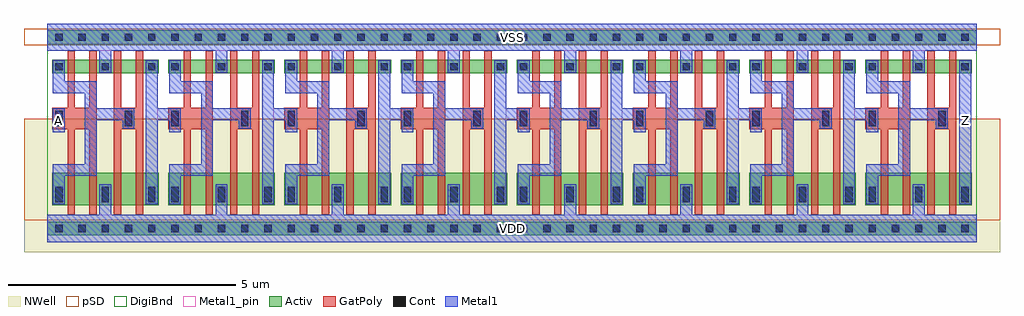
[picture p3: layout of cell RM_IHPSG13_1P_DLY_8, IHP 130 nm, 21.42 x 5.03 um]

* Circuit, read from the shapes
.subckt RM_IHPSG13_1P_DLY_8 A VDD VSS Z
XM1 n1 A n2 VSS sg13_lv_nmos w=0.3u l=0.16u
XM2 VSS A n1 VSS sg13_lv_nmos w=0.3u l=0.16u
XM3 n3 n2 VSS VSS sg13_lv_nmos w=0.3u l=0.16u
XM4 RSC_IHPSG13_CDLYX1_1/A n2 n3 VSS sg13_lv_nmos w=0.3u l=0.16u
XM5 n4 RSC_IHPSG13_CDLYX1_1/A n5 VSS sg13_lv_nmos w=0.3u l=0.16u
XM6 VSS RSC_IHPSG13_CDLYX1_1/A n4 VSS sg13_lv_nmos w=0.3u l=0.16u
XM7 n6 n5 VSS VSS sg13_lv_nmos w=0.3u l=0.16u
XM8 RSC_IHPSG13_CDLYX1_2/A n5 n6 VSS sg13_lv_nmos w=0.3u l=0.16u
XM9 n7 RSC_IHPSG13_CDLYX1_2/A n8 VSS sg13_lv_nmos w=0.3u l=0.16u
XM10 VSS RSC_IHPSG13_CDLYX1_2/A n7 VSS sg13_lv_nmos w=0.3u l=0.16u
XM11 n9 n8 VSS VSS sg13_lv_nmos w=0.3u l=0.16u
XM12 RSC_IHPSG13_CDLYX1_3/A n8 n9 VSS sg13_lv_nmos w=0.3u l=0.16u
XM13 n10 RSC_IHPSG13_CDLYX1_3/A n11 VSS sg13_lv_nmos w=0.3u l=0.16u
XM14 VSS RSC_IHPSG13_CDLYX1_3/A n10 VSS sg13_lv_nmos w=0.3u l=0.16u
XM15 n12 n11 VSS VSS sg13_lv_nmos w=0.3u l=0.16u
XM16 RSC_IHPSG13_CDLYX1_4/A n11 n12 VSS sg13_lv_nmos w=0.3u l=0.16u
XM17 n13 RSC_IHPSG13_CDLYX1_4/A n14 VSS sg13_lv_nmos w=0.3u l=0.16u
XM18 VSS RSC_IHPSG13_CDLYX1_4/A n13 VSS sg13_lv_nmos w=0.3u l=0.16u
XM19 n15 n14 VSS VSS sg13_lv_nmos w=0.3u l=0.16u
XM20 RSC_IHPSG13_CDLYX1_5/A n14 n15 VSS sg13_lv_nmos w=0.3u l=0.16u
XM21 n16 RSC_IHPSG13_CDLYX1_5/A n17 VSS sg13_lv_nmos w=0.3u l=0.16u
XM22 VSS RSC_IHPSG13_CDLYX1_5/A n16 VSS sg13_lv_nmos w=0.3u l=0.16u
XM23 n18 n17 VSS VSS sg13_lv_nmos w=0.3u l=0.16u
XM24 RSC_IHPSG13_CDLYX1_6/A n17 n18 VSS sg13_lv_nmos w=0.3u l=0.16u
XM25 n19 RSC_IHPSG13_CDLYX1_6/A n20 VSS sg13_lv_nmos w=0.3u l=0.16u
XM26 VSS RSC_IHPSG13_CDLYX1_6/A n19 VSS sg13_lv_nmos w=0.3u l=0.16u
XM27 n21 n20 VSS VSS sg13_lv_nmos w=0.3u l=0.16u
XM28 RSC_IHPSG13_CDLYX1_7/A n20 n21 VSS sg13_lv_nmos w=0.3u l=0.16u
XM29 n22 RSC_IHPSG13_CDLYX1_7/A n23 VSS sg13_lv_nmos w=0.3u l=0.16u
XM30 VSS RSC_IHPSG13_CDLYX1_7/A n22 VSS sg13_lv_nmos w=0.3u l=0.16u
XM31 n24 n23 VSS VSS sg13_lv_nmos w=0.3u l=0.16u
XM32 Z n23 n24 VSS sg13_lv_nmos w=0.3u l=0.16u
XM33 n25 A n2 VDD sg13_lv_pmos w=0.72u l=0.16u
XM34 VDD A n25 VDD sg13_lv_pmos w=0.72u l=0.16u
XM35 n26 n2 VDD VDD sg13_lv_pmos w=0.72u l=0.16u
XM36 RSC_IHPSG13_CDLYX1_1/A n2 n26 VDD sg13_lv_pmos w=0.72u l=0.16u
XM37 n27 RSC_IHPSG13_CDLYX1_1/A n5 VDD sg13_lv_pmos w=0.72u l=0.16u
XM38 VDD RSC_IHPSG13_CDLYX1_1/A n27 VDD sg13_lv_pmos w=0.72u l=0.16u
XM39 n28 n5 VDD VDD sg13_lv_pmos w=0.72u l=0.16u
XM40 RSC_IHPSG13_CDLYX1_2/A n5 n28 VDD sg13_lv_pmos w=0.72u l=0.16u
XM41 n29 RSC_IHPSG13_CDLYX1_2/A n8 VDD sg13_lv_pmos w=0.72u l=0.16u
XM42 VDD RSC_IHPSG13_CDLYX1_2/A n29 VDD sg13_lv_pmos w=0.72u l=0.16u
XM43 n30 n8 VDD VDD sg13_lv_pmos w=0.72u l=0.16u
XM44 RSC_IHPSG13_CDLYX1_3/A n8 n30 VDD sg13_lv_pmos w=0.72u l=0.16u
XM45 n31 RSC_IHPSG13_CDLYX1_3/A n11 VDD sg13_lv_pmos w=0.72u l=0.16u
XM46 VDD RSC_IHPSG13_CDLYX1_3/A n31 VDD sg13_lv_pmos w=0.72u l=0.16u
XM47 n32 n11 VDD VDD sg13_lv_pmos w=0.72u l=0.16u
XM48 RSC_IHPSG13_CDLYX1_4/A n11 n32 VDD sg13_lv_pmos w=0.72u l=0.16u
XM49 n33 RSC_IHPSG13_CDLYX1_4/A n14 VDD sg13_lv_pmos w=0.72u l=0.16u
XM50 VDD RSC_IHPSG13_CDLYX1_4/A n33 VDD sg13_lv_pmos w=0.72u l=0.16u
XM51 n34 n14 VDD VDD sg13_lv_pmos w=0.72u l=0.16u
XM52 RSC_IHPSG13_CDLYX1_5/A n14 n34 VDD sg13_lv_pmos w=0.72u l=0.16u
XM53 n35 RSC_IHPSG13_CDLYX1_5/A n17 VDD sg13_lv_pmos w=0.72u l=0.16u
XM54 VDD RSC_IHPSG13_CDLYX1_5/A n35 VDD sg13_lv_pmos w=0.72u l=0.16u
XM55 n36 n17 VDD VDD sg13_lv_pmos w=0.72u l=0.16u
XM56 RSC_IHPSG13_CDLYX1_6/A n17 n36 VDD sg13_lv_pmos w=0.72u l=0.16u
XM57 n37 RSC_IHPSG13_CDLYX1_6/A n20 VDD sg13_lv_pmos w=0.72u l=0.16u
XM58 VDD RSC_IHPSG13_CDLYX1_6/A n37 VDD sg13_lv_pmos w=0.72u l=0.16u
XM59 n38 n20 VDD VDD sg13_lv_pmos w=0.72u l=0.16u
XM60 RSC_IHPSG13_CDLYX1_7/A n20 n38 VDD sg13_lv_pmos w=0.72u l=0.16u
XM61 n39 RSC_IHPSG13_CDLYX1_7/A n23 VDD sg13_lv_pmos w=0.72u l=0.16u
XM62 VDD RSC_IHPSG13_CDLYX1_7/A n39 VDD sg13_lv_pmos w=0.72u l=0.16u
XM63 n40 n23 VDD VDD sg13_lv_pmos w=0.72u l=0.16u
XM64 Z n23 n40 VDD sg13_lv_pmos w=0.72u l=0.16u
.ends

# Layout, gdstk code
import gdstk
lib = gdstk.Library(unit=1e-6, precision=1e-09)
def R(c, l, rs):  # rectangles x0, y0, x1, y1
    for r in rs: c.add(gdstk.rectangle(r[:2], r[2:], *l))
def A(c, l, x, y, w, h, nx, ny, dx, dy):  # array of equal rectangles
    R(c, l, [(x+i*dx, y+j*dy, x+i*dx+w, y+j*dy+h) for i in range(nx) for j in range(ny)])
def P(c, l, *ps):  # polygons
    for p in ps: c.add(gdstk.Polygon(p, *l))
Activ = (1, 0)
GatPoly = (5, 0)
Cont = (6, 0)
Metal1 = (8, 0)
Metal1_pin = (8, 2)
pSD = (14, 0)
DigiBnd = (16, 0)
NWell = (31, 0)

rsc_ihpsg13_cdlyx1 = lib.new_cell('RSC_IHPSG13_CDLYX1')
R(rsc_ihpsg13_cdlyx1, Activ, [(0,-0.15,2.55,0.15), (0.105,0.49,2.445,0.79), (0.105,2.97,2.445,3.69), (0,4.05,2.55,4.35)])
P(rsc_ihpsg13_cdlyx1, GatPoly, [(1.465,0.3),(1.465,3.9),(1.625,3.9),(1.625,2.025),(1.945,2.025),(1.945,3.9),(2.105,3.9),(2.105,0.3),(1.945,0.3),(1.945,1.545),(1.625,1.545),(1.625,0.3)],
  [(0.445,0.3),(0.445,1.545),(0.105,1.545),(0.105,2.025),(0.445,2.025),(0.445,3.9),(0.605,3.9),(0.605,2.025),(0.925,2.025),(0.925,3.9),(1.085,3.9),(1.085,0.3),(0.925,0.3),(0.925,1.545),(0.605,1.545),(0.605,0.3)])
A(rsc_ihpsg13_cdlyx1, Cont, 0.175, -0.08, 0.16, 0.16, 5, 2, 0.51, 4.2)
A(rsc_ihpsg13_cdlyx1, Cont, 0.175, 0.57, 0.16, 0.16, 3, 1, 1.02, 0)
A(rsc_ihpsg13_cdlyx1, Cont, 0.175, 3.28, 0.16, 0.34, 3, 1, 1.02, 0)
R(rsc_ihpsg13_cdlyx1, Cont, [(0.175,1.615,0.335,1.955), (1.705,1.615,1.865,1.955)])
R(rsc_ihpsg13_cdlyx1, Metal1, [(0,-0.3,2.55,0.3), (1.145,0.3,1.405,0.78), (2.165,0.51,2.425,3.67), (0.125,1.56,0.385,2.09)])
P(rsc_ihpsg13_cdlyx1, Metal1, [(0.125,0.51),(0.125,1.23),(0.825,1.23),(0.825,2.79),(0.125,2.79),(0.125,3.67),(0.385,3.67),(0.385,3.04),(1.085,3.04),(1.085,1.82),(1.655,1.82),(1.655,2.005),(1.915,2.005),(1.915,1.56),(1.085,1.56),(1.085,0.97),(0.385,0.97),(0.385,0.51)],
  [(1.145,3.23),(1.145,3.9),(0,3.9),(0,4.5),(2.55,4.5),(2.55,3.9),(1.405,3.9),(1.405,3.23)])
R(rsc_ihpsg13_cdlyx1, Metal1_pin, [(0,-0.3,2.55,0.3), (2.165,0.51,2.425,3.67), (0.125,1.56,0.385,2.09), (0,3.9,2.55,4.5)])
R(rsc_ihpsg13_cdlyx1, pSD, [(-0.51,-0.18,3.06,0.18), (-0.51,1.785,3.06,4.02)])
R(rsc_ihpsg13_cdlyx1, DigiBnd, [(0,-0.3,2.55,4.5)])
R(rsc_ihpsg13_cdlyx1, NWell, [(-0.51,1.785,3.06,4.725)])
rsc_ihpsg13_cdlyx1.add(gdstk.Label('VDD!', (0.51,4.2), layer=8, texttype=25))
rsc_ihpsg13_cdlyx1.add(gdstk.Label('A', (0.265,1.785), layer=8, texttype=25))
rsc_ihpsg13_cdlyx1.add(gdstk.Label('VSS!', (0.465,0), layer=8, texttype=25))
rsc_ihpsg13_cdlyx1.add(gdstk.Label('Z', (2.3,1.755), layer=8, texttype=25))

rm_ihpsg13_1p_dly_8 = lib.new_cell('RM_IHPSG13_1P_DLY_8')
A(rm_ihpsg13_1p_dly_8, Metal1, 2.425, 2.38, 0.25, 0.26, 7, 1, 2.55, 0)
R(rm_ihpsg13_1p_dly_8, Metal1_pin, [(0,-0.3,20.4,0.3), (0.125,2.11,0.385,2.64), (20.015,2.11,20.275,2.64), (0,3.9,20.4,4.5)])
rm_ihpsg13_1p_dly_8.add(gdstk.Reference(rsc_ihpsg13_cdlyx1, (0,4.2), x_reflection=True))
rm_ihpsg13_1p_dly_8.add(gdstk.Reference(rsc_ihpsg13_cdlyx1, (2.55,4.2), x_reflection=True))
rm_ihpsg13_1p_dly_8.add(gdstk.Reference(rsc_ihpsg13_cdlyx1, (5.1,4.2), x_reflection=True))
rm_ihpsg13_1p_dly_8.add(gdstk.Reference(rsc_ihpsg13_cdlyx1, (7.65,4.2), x_reflection=True))
rm_ihpsg13_1p_dly_8.add(gdstk.Reference(rsc_ihpsg13_cdlyx1, (10.2,4.2), x_reflection=True))
rm_ihpsg13_1p_dly_8.add(gdstk.Reference(rsc_ihpsg13_cdlyx1, (12.75,4.2), x_reflection=True))
rm_ihpsg13_1p_dly_8.add(gdstk.Reference(rsc_ihpsg13_cdlyx1, (15.3,4.2), x_reflection=True))
rm_ihpsg13_1p_dly_8.add(gdstk.Reference(rsc_ihpsg13_cdlyx1, (17.85,4.2), x_reflection=True))
rm_ihpsg13_1p_dly_8.add(gdstk.Label('VDD', (10.2,0), layer=8, texttype=25))
rm_ihpsg13_1p_dly_8.add(gdstk.Label('VSS', (10.2,4.2), layer=8, texttype=25))
rm_ihpsg13_1p_dly_8.add(gdstk.Label('A', (0.255,2.375), layer=8, texttype=25))
rm_ihpsg13_1p_dly_8.add(gdstk.Label('Z', (20.145,2.375), layer=8, texttype=25))

lib.write_gds('RM_IHPSG13_1P_DLY_8.gds')
